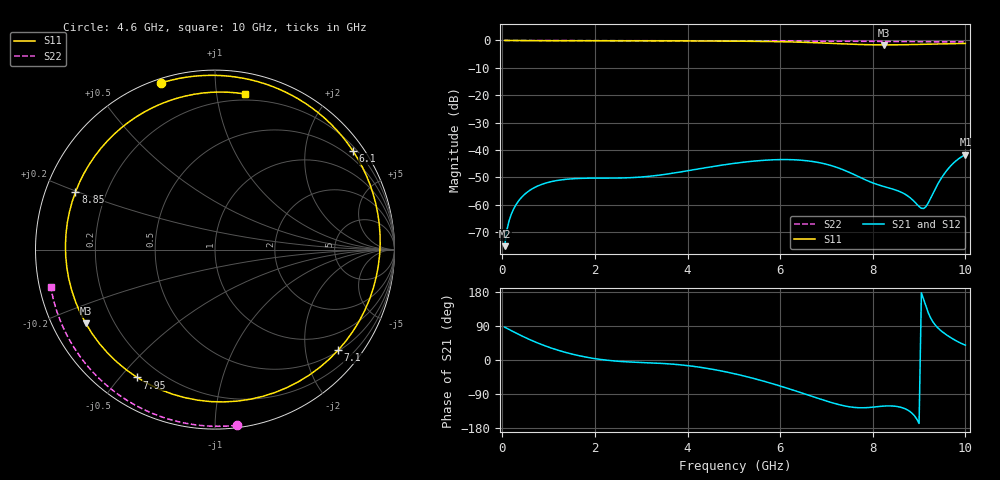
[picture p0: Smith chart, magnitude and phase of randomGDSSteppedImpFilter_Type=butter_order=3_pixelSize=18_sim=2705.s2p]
! freq	dB(S11)	phase(S11)	dB(S12)	phase(S12)
!  dB(S21)	phase(S21)	dB(S22)	phase(S22)
!S-par simulation data
#  GHz  S  DB  R 50
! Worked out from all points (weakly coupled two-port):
!   200 points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, 50 MHz to 10 GHz, reference 50 ohm
!   highest |S21| = -41.75 dB at 10 GHz (marker M1); lowest = -75.2 dB at 50 MHz (marker M2)
!   lowest |S11| = -1.6 dB at 8.25 GHz (marker M3), VSWR 10.72, Z = 4.99 - j13.1 ohm
!   |S11| at or under -10 dB: nowhere
!   |S22| runs from -0.6 to 0.0 dB; largest |S21 - S12| = 0
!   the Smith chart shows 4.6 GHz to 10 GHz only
!   S11 on the Smith chart (normalised r, x): 4.6 GHz: 0.02, +0.73; 6.1 GHz: 0.30, +3.09; 7.1 GHz: 0.52, -2.71; 7.95 GHz: 0.12, -0.56; 8.85 GHz: 0.09, +0.20; 10 GHz: 0.15, +1.20
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0.05  -0.00 -5.6  -75.15 86.7  -75.15 86.7  -0.00 -1.0
0.15  -0.02 -16.5  -65.69 80.3  -65.69 80.3  -0.00 -2.9
0.25  -0.04 -27.3  -61.39 74.0  -61.39 74.0  -0.01 -4.8
0.75  -0.08 -75.6  -53.28 45.6  -53.28 45.6  -0.02 -14.3
1.15  -0.10 -106.2  -51.25 27.9  -51.25 27.9  -0.03 -21.9
1.75  -0.11 -141.3  -50.35 9.0  -50.35 9.0  -0.04 -33.1
2.5  -0.12 -174.5  -50.26 -3.3  -50.26 -3.3  -0.06 -46.7
3.4  -0.14 152.2  -49.18 -8.7  -49.18 -8.7  -0.08 -62.6
4.6  -0.21 108.0  -45.91 -25.9  -45.91 -25.9  -0.12 -82.9
5.05  -0.26 89.4  -44.81 -37.3  -44.81 -37.3  -0.14 -90.3
5.6  -0.35 63.5  -43.84 -54.3  -43.84 -54.3  -0.16 -99.1
6.1  -0.49 35.6  -43.51 -72.4  -43.51 -72.4  -0.19 -106.9
6.7  -0.78 -5.9  -44.22 -96.4  -44.22 -96.4  -0.23 -116.2
7.1  -1.05 -39.3  -45.70 -112.0  -45.70 -112.0  -0.26 -122.3
7.55  -1.38 -81.7  -48.62 -124.4  -48.62 -124.4  -0.29 -129.2
7.95  -1.58 -121.4  -51.70 -125.0  -51.70 -125.0  -0.32 -135.2
8.25  -1.63 -150.3  -53.42 -121.5  -53.42 -121.5  -0.35 -139.8
8.35  -1.62 -159.6  -53.90 -121.1  -53.90 -121.1  -0.36 -141.3
8.85  -1.50 157.6  -58.09 -140.6  -58.09 -140.6  -0.41 -149.0
9.15  -1.39 134.7  -60.69 140.5  -60.69 140.5  -0.45 -153.7
9.6  -1.21 104.0  -47.46 65.6  -47.46 65.6  -0.50 -160.8
10  -1.08 79.3  -41.75 39.1  -41.75 39.1  -0.55 -167.3
